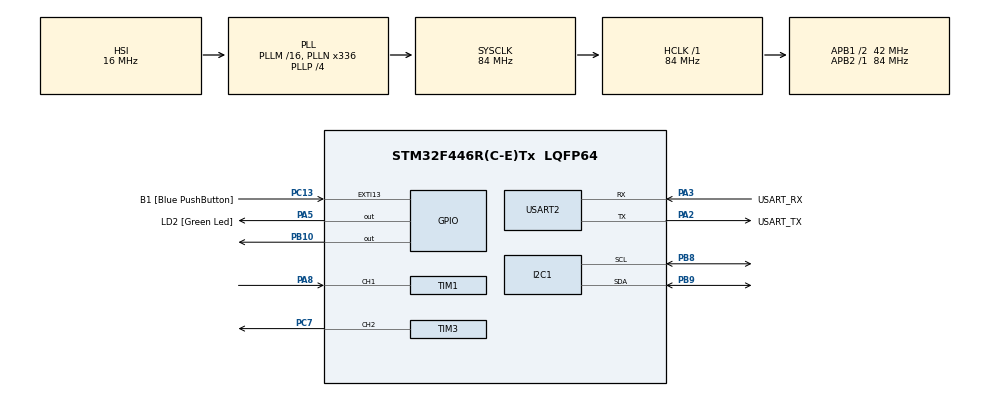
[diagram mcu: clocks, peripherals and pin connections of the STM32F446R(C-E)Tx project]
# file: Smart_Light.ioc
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I2C1.I2C_Mode=I2C_Fast
Mcu.Family=STM32F4
Mcu.Name=STM32F446R(C-E)Tx
Mcu.Package=LQFP64
NVIC.PriorityGroup=NVIC_PRIORITYGROUP_0
NVIC.TIM1_CC_IRQn=true\:0\:0\:false\:false\:true\:true\:true\:true
PA13.GPIO_Label=TMS
PA13.Mode=Serial_Wire
PA13.Signal=SYS_JTMS-SWDIO
PA14.GPIO_Label=TCK
PA14.Mode=Serial_Wire
PA14.Signal=SYS_JTCK-SWCLK
PA2.GPIO_Label=USART_TX
PA2.Mode=Asynchronous
PA2.Signal=USART2_TX
PA3.GPIO_Label=USART_RX
PA3.Mode=Asynchronous
PA3.Signal=USART2_RX
PA5.GPIO_Label=LD2 [Green Led]
PA5.Signal=GPIO_Output
PA8.Signal=S_TIM1_CH1
PB10.Signal=GPIO_Output
PB3.GPIO_Label=SWO
PB3.Signal=SYS_JTDO-SWO
PB8.Mode=I2C
PB8.Signal=I2C1_SCL
PB9.Mode=I2C
PB9.Signal=I2C1_SDA
PC13.GPIO_Label=B1 [Blue PushButton]
PC13.GPIO_ModeDefaultEXTI=GPIO_MODE_IT_FALLING
PC13.Signal=GPXTI13
PC14-OSC32_IN.Mode=LSE-External-Oscillator
PC14-OSC32_IN.Signal=RCC_OSC32_IN
PC15-OSC32_OUT.Mode=LSE-External-Oscillator
PC15-OSC32_OUT.Signal=RCC_OSC32_OUT
PC7.Signal=S_TIM3_CH2
PH0-OSC_IN.Mode=HSE-External-Oscillator
PH0-OSC_IN.Signal=RCC_OSC_IN
PH1-OSC_OUT.Mode=HSE-External-Oscillator
PH1-OSC_OUT.Signal=RCC_OSC_OUT
ProjectManager.HeapSize=0x200
ProjectManager.StackSize=0x400
ProjectManager.TargetToolchain=STM32CubeIDE
RCC.48MHZClocksFreq_Value=84000000
RCC.AHBFreq_Value=84000000
RCC.APB1CLKDivider=RCC_HCLK_DIV2
RCC.APB1Freq_Value=42000000
RCC.APB1TimFreq_Value=84000000
RCC.APB2Freq_Value=84000000
RCC.APB2TimFreq_Value=84000000
RCC.CortexFreq_Value=84000000
RCC.FLatency-AdvancedSettings=FLASH_LATENCY_2
RCC.HCLKFreq_Value=84000000
RCC.HSE_VALUE=8000000
RCC.HSI_VALUE=16000000
RCC.PLLN=336
RCC.PLLP=RCC_PLLP_DIV4
RCC.SYSCLKFreq_VALUE=84000000
RCC.SYSCLKSource=RCC_SYSCLKSOURCE_PLLCLK
RCC.USBFreq_Value=168000000
RCC.VCOOutputFreq_Value=336000000
SH.S_TIM1_CH1.0=TIM1_CH1,Input_Capture1_from_TI1
SH.S_TIM3_CH2.0=TIM3_CH2,PWM Generation2 CH2
TIM1.Channel-Input_Capture1_from_TI1=TIM_CHANNEL_1
TIM1.Prescaler=84-1
TIM3.Channel-PWM\ Generation2\ CH2=TIM_CHANNEL_2
USART2.VirtualMode=VM_ASYNC
board=NUCLEO-F446RE

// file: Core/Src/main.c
/* USER CODE BEGIN Header */
/**
  ******************************************************************************
  * @file           : main.c
  * @brief          : Main program body
  ******************************************************************************
  * @attention
  *
  * Copyright (c) 2022 STMicroelectronics.
  * All rights reserved.
  *
  * This software is licensed under terms that can be found in the LICENSE file
  * in the root directory of this software component.
  * If no LICENSE file comes with this software, it is provided AS-IS.
  *
  ******************************************************************************
  */
/* USER CODE END Header */
#include "main.h"

/* USER CODE BEGIN Includes */
#include "ssd1306.h"
#include "fonts.h"
#include "test.h"
/* USER CODE END Includes */

/* USER CODE BEGIN PD */
#define BRIGHTNESS_MAX 100
#define BRIGHTNESS_MIN 0
#define DISTANCE_MAX 50
#define DISTANCE_MIN 8

/* USER CODE END PD */

I2C_HandleTypeDef hi2c1;

TIM_HandleTypeDef htim1;
TIM_HandleTypeDef htim3;

UART_HandleTypeDef huart2;

void SystemClock_Config(void);
static void MX_GPIO_Init(void);
static void MX_USART2_UART_Init(void);
static void MX_TIM3_Init(void);
static void MX_TIM1_Init(void);
static void MX_I2C1_Init(void);

/* USER CODE BEGIN 0 */

// values that will be used
uint32_t ic_val1 = 0;
uint32_t ic_val2 = 0;
uint32_t difference = 0;
uint8_t is_captured_first = 0;
uint8_t distance = 0;

void HAL_TIM_IC_CaptureCallback(TIM_HandleTypeDef *htim)
{
	// if the interrupt is even triggered by channel1
	if (htim->Channel == HAL_TIM_ACTIVE_CHANNEL_1)
	{

		distance = 0;

		if (is_captured_first == 0) // if the first value is not captured
		{
			// read the first value:
			ic_val1 = HAL_TIM_ReadCapturedValue(htim, TIM_CHANNEL_1);
			// this will give the time when the interrupt happened by reading the current time

			// set the first captured as true:
			is_captured_first = 1;

			// change the polarity to falling edge to find when the
			__HAL_TIM_SET_CAPTUREPOLARITY(htim, TIM_CHANNEL_1, TIM_INPUTCHANNELPOLARITY_FALLING);
		}

		else if (is_captured_first == 1)   // if the first is captured
		{
			// read second value:
			ic_val2 = HAL_TIM_ReadCapturedValue(htim, TIM_CHANNEL_1);

			// reset the counter because we are done with the measurement:
			__HAL_TIM_SET_COUNTER(htim, 0);

			// comparison needed if we got the timer over 65535
			if (ic_val2 > ic_val1)
			{
				difference = ic_val2 - ic_val1;
			}

			else if (ic_val1 > ic_val2)
			{
				difference = (0xffff - ic_val1) + ic_val2;
			}

			// calculations from sensor manual
			distance = difference * 0.034/2;

			// set first capture back to false:
			is_captured_first = 0;

			// polarity to rising edge
			__HAL_TIM_SET_CAPTUREPOLARITY(htim, TIM_CHANNEL_1, TIM_INPUTCHANNELPOLARITY_RISING);

			// don't need it anymore
			__HAL_TIM_DISABLE_IT(&htim1, TIM_IT_CC1);
		}
	}
}

// for the delay in microseconds using a timer
void delay(uint16_t time)
{
	__HAL_TIM_SET_COUNTER(&htim1, 0);
	while(__HAL_TIM_GET_COUNTER(&htim1) < time);
}

void HCSR04_Read()
{
	// sending high for 10ms to activate the readings and then the sensor sends ultrasonic wave
	HAL_GPIO_WritePin(GPIOB, GPIO_PIN_10, 1);
	delay(10);
	HAL_GPIO_WritePin(GPIOB, GPIO_PIN_10, 0);
	// interrupt is enabled
	__HAL_TIM_ENABLE_IT(&htim1, TIM_IT_CC1);
}

// function that will send messages through UART and can be seen on USB
void display_UART(char *message)
{
	HAL_UART_Transmit(&huart2, (uint8_t*)message, strlen(message), HAL_MAX_DELAY);
	//38400
}
void display_num_UART(uint8_t num)
{
	char buf[10];
	sprintf(buf, "%li \r\n", num);
	HAL_UART_Transmit(&huart2, &buf, strlen(buf), HAL_MAX_DELAY);
	//38400
}

void display_distance(uint8_t num)
{
	char buf[11];
	sprintf(buf, "%d       ", num);

	SSD1306_GotoXY (70,10);
	SSD1306_Puts (buf, &Font_11x18, 1);
	SSD1306_UpdateScreen();
}

uint16_t get_brightness(uint8_t distance)
{
  if (distance < DISTANCE_MIN) {
        distance = DISTANCE_MIN;
    } else if (distance > DISTANCE_MAX) {
        distance = DISTANCE_MAX;
    }
    // Map distance to brightness
    return BRIGHTNESS_MAX - ((distance - DISTANCE_MIN) * (BRIGHTNESS_MAX - BRIGHTNESS_MIN) / (DISTANCE_MAX - DISTANCE_MIN));
}

/* USER CODE END 0 */

int main(void)
{

  /* MCU Configuration--------------------------------------------------------*/

  /* Reset of all peripherals, Initializes the Flash interface and the Systick. */
  HAL_Init();

  /* Configure the system clock */
  SystemClock_Config();

  /* Initialize all configured peripherals */
  MX_GPIO_Init();
  MX_USART2_UART_Init();
  MX_TIM3_Init();
  MX_TIM1_Init();
  MX_I2C1_Init();
  /* USER CODE BEGIN 2 */

  HAL_TIM_IC_Start_IT(&htim1, TIM_CHANNEL_1);
  HAL_TIM_PWM_Start(&htim3, TIM_CHANNEL_2);
  SSD1306_Init();

  SSD1306_GotoXY (10,10);
  SSD1306_Puts ("Dist: ", &Font_11x18, 1);
  SSD1306_UpdateScreen();

  uint8_t i = 0;
  uint8_t avg_val = 0;
  uint8_t sum = 0;
  uint16_t brightness = 0;

  HAL_Delay(1000);
  /* USER CODE END 2 */

  /* Infinite loop */
  while (1)
  {

	i = 0;
	avg_val = 0;
	sum = 0;
	while(i<5)
	{
		HCSR04_Read();
		sum += distance;
		i++;
		HAL_Delay(100);
	}
	avg_val = sum / 5;

	display_distance(avg_val);

  brightness = get_brightness(avg_val);

	__HAL_TIM_SET_COMPARE(&htim3, TIM_CHANNEL_2, brightness * 655);

  }
}

void SystemClock_Config(void)
{
  RCC_OscInitTypeDef RCC_OscInitStruct = {0};
  RCC_ClkInitTypeDef RCC_ClkInitStruct = {0};

  /** Configure the main internal regulator output voltage
  */
  __HAL_RCC_PWR_CLK_ENABLE();
  __HAL_PWR_VOLTAGESCALING_CONFIG(PWR_REGULATOR_VOLTAGE_SCALE3);

  /** Initializes the RCC Oscillators according to the specified parameters
  * in the RCC_OscInitTypeDef structure.
  */
  RCC_OscInitStruct.OscillatorType = RCC_OSCILLATORTYPE_HSI;
  RCC_OscInitStruct.HSIState = RCC_HSI_ON;
  RCC_OscInitStruct.HSICalibrationValue = RCC_HSICALIBRATION_DEFAULT;
  RCC_OscInitStruct.PLL.PLLState = RCC_PLL_ON;
  RCC_OscInitStruct.PLL.PLLSource = RCC_PLLSOURCE_HSI;
  RCC_OscInitStruct.PLL.PLLM = 16;
  RCC_OscInitStruct.PLL.PLLN = 336;
  RCC_OscInitStruct.PLL.PLLP = RCC_PLLP_DIV4;
  RCC_OscInitStruct.PLL.PLLQ = 2;
  RCC_OscInitStruct.PLL.PLLR = 2;
  if (HAL_RCC_OscConfig(&RCC_OscInitStruct) != HAL_OK)
  {
    Error_Handler();
  }

  /** Initializes the CPU, AHB and APB buses clocks
  */
  RCC_ClkInitStruct.ClockType = RCC_CLOCKTYPE_HCLK|RCC_CLOCKTYPE_SYSCLK
                              |RCC_CLOCKTYPE_PCLK1|RCC_CLOCKTYPE_PCLK2;
  RCC_ClkInitStruct.SYSCLKSource = RCC_SYSCLKSOURCE_PLLCLK;
  RCC_ClkInitStruct.AHBCLKDivider = RCC_SYSCLK_DIV1;
  RCC_ClkInitStruct.APB1CLKDivider = RCC_HCLK_DIV2;
  RCC_ClkInitStruct.APB2CLKDivider = RCC_HCLK_DIV1;

  if (HAL_RCC_ClockConfig(&RCC_ClkInitStruct, FLASH_LATENCY_2) != HAL_OK)
  {
    Error_Handler();
  }
}

static void MX_I2C1_Init(void)
{

  hi2c1.Instance = I2C1;
  hi2c1.Init.ClockSpeed = 400000;
  hi2c1.Init.DutyCycle = I2C_DUTYCYCLE_2;
  hi2c1.Init.OwnAddress1 = 0;
  hi2c1.Init.AddressingMode = I2C_ADDRESSINGMODE_7BIT;
  hi2c1.Init.DualAddressMode = I2C_DUALADDRESS_DISABLE;
  hi2c1.Init.OwnAddress2 = 0;
  hi2c1.Init.GeneralCallMode = I2C_GENERALCALL_DISABLE;
  hi2c1.Init.NoStretchMode = I2C_NOSTRETCH_DISABLE;
  if (HAL_I2C_Init(&hi2c1) != HAL_OK)
  {
    Error_Handler();
  }

}

static void MX_TIM1_Init(void)
{

  TIM_MasterConfigTypeDef sMasterConfig = {0};
  TIM_IC_InitTypeDef sConfigIC = {0};

  htim1.Instance = TIM1;
  htim1.Init.Prescaler = 84-1;
  htim1.Init.CounterMode = TIM_COUNTERMODE_UP;
  htim1.Init.Period = 65535;
  htim1.Init.ClockDivision = TIM_CLOCKDIVISION_DIV1;
  htim1.Init.RepetitionCounter = 0;
  htim1.Init.AutoReloadPreload = TIM_AUTORELOAD_PRELOAD_DISABLE;
  if (HAL_TIM_IC_Init(&htim1) != HAL_OK)
  {
    Error_Handler();
  }
  sMasterConfig.MasterOutputTrigger = TIM_TRGO_RESET;
  sMasterConfig.MasterSlaveMode = TIM_MASTERSLAVEMODE_DISABLE;
  if (HAL_TIMEx_MasterConfigSynchronization(&htim1, &sMasterConfig) != HAL_OK)
  {
    Error_Handler();
  }
  sConfigIC.ICPolarity = TIM_INPUTCHANNELPOLARITY_RISING;
  sConfigIC.ICSelection = TIM_ICSELECTION_DIRECTTI;
  sConfigIC.ICPrescaler = TIM_ICPSC_DIV1;
  sConfigIC.ICFilter = 0;
  if (HAL_TIM_IC_ConfigChannel(&htim1, &sConfigIC, TIM_CHANNEL_1) != HAL_OK)
  {
    Error_Handler();
  }

}

static void MX_TIM3_Init(void)
{

  TIM_MasterConfigTypeDef sMasterConfig = {0};
  TIM_OC_InitTypeDef sConfigOC = {0};

  htim3.Instance = TIM3;
  htim3.Init.Prescaler = 0;
  htim3.Init.CounterMode = TIM_COUNTERMODE_UP;
  htim3.Init.Period = 65535;
  htim3.Init.ClockDivision = TIM_CLOCKDIVISION_DIV1;
  htim3.Init.AutoReloadPreload = TIM_AUTORELOAD_PRELOAD_DISABLE;
  if (HAL_TIM_PWM_Init(&htim3) != HAL_OK)
  {
    Error_Handler();
  }
  sMasterConfig.MasterOutputTrigger = TIM_TRGO_RESET;
  sMasterConfig.MasterSlaveMode = TIM_MASTERSLAVEMODE_DISABLE;
  if (HAL_TIMEx_MasterConfigSynchronization(&htim3, &sMasterConfig) != HAL_OK)
  {
    Error_Handler();
  }
  sConfigOC.OCMode = TIM_OCMODE_PWM1;
  sConfigOC.Pulse = 0;
  sConfigOC.OCPolarity = TIM_OCPOLARITY_HIGH;
  sConfigOC.OCFastMode = TIM_OCFAST_DISABLE;
  if (HAL_TIM_PWM_ConfigChannel(&htim3, &sConfigOC, TIM_CHANNEL_2) != HAL_OK)
  {
    Error_Handler();
  }
  HAL_TIM_MspPostInit(&htim3);

}

static void MX_USART2_UART_Init(void)
{

  huart2.Instance = USART2;
  huart2.Init.BaudRate = 115200;
  huart2.Init.WordLength = UART_WORDLENGTH_8B;
  huart2.Init.StopBits = UART_STOPBITS_1;
  huart2.Init.Parity = UART_PARITY_NONE;
  huart2.Init.Mode = UART_MODE_TX_RX;
  huart2.Init.HwFlowCtl = UART_HWCONTROL_NONE;
  huart2.Init.OverSampling = UART_OVERSAMPLING_16;
  if (HAL_UART_Init(&huart2) != HAL_OK)
  {
    Error_Handler();
  }

}

static void MX_GPIO_Init(void)
{
  GPIO_InitTypeDef GPIO_InitStruct = {0};

  /* GPIO Ports Clock Enable */
  __HAL_RCC_GPIOC_CLK_ENABLE();
  __HAL_RCC_GPIOH_CLK_ENABLE();
  __HAL_RCC_GPIOA_CLK_ENABLE();
  __HAL_RCC_GPIOB_CLK_ENABLE();

  /*Configure GPIO pin Output Level */
  HAL_GPIO_WritePin(LD2_GPIO_Port, LD2_Pin, GPIO_PIN_RESET);

  /*Configure GPIO pin Output Level */
  HAL_GPIO_WritePin(GPIOB, GPIO_PIN_10, GPIO_PIN_RESET);

  /*Configure GPIO pin : B1_Pin */
  GPIO_InitStruct.Pin = B1_Pin;
  GPIO_InitStruct.Mode = GPIO_MODE_IT_FALLING;
  GPIO_InitStruct.Pull = GPIO_NOPULL;
  HAL_GPIO_Init(B1_GPIO_Port, &GPIO_InitStruct);

  /*Configure GPIO pin : LD2_Pin */
  GPIO_InitStruct.Pin = LD2_Pin;
  GPIO_InitStruct.Mode = GPIO_MODE_OUTPUT_PP;
  GPIO_InitStruct.Pull = GPIO_NOPULL;
  GPIO_InitStruct.Speed = GPIO_SPEED_FREQ_LOW;
  HAL_GPIO_Init(LD2_GPIO_Port, &GPIO_InitStruct);

  /*Configure GPIO pin : PB10 */
  GPIO_InitStruct.Pin = GPIO_PIN_10;
  GPIO_InitStruct.Mode = GPIO_MODE_OUTPUT_PP;
  GPIO_InitStruct.Pull = GPIO_NOPULL;
  GPIO_InitStruct.Speed = GPIO_SPEED_FREQ_LOW;
  HAL_GPIO_Init(GPIOB, &GPIO_InitStruct);

}

void Error_Handler(void)
{
  __disable_irq();
  while (1)
  {
  }
}
